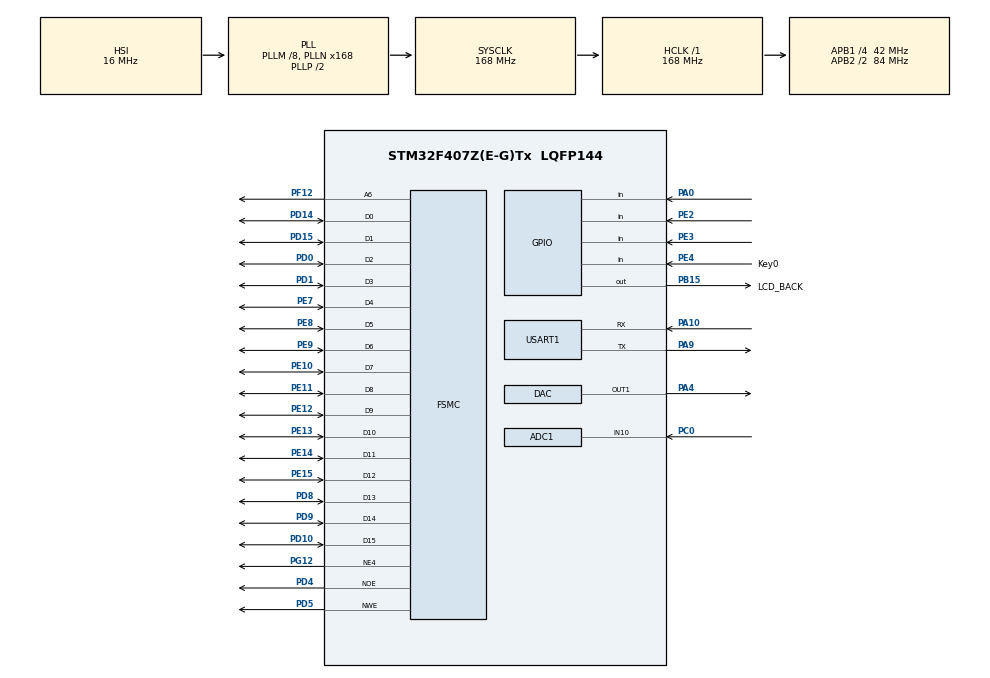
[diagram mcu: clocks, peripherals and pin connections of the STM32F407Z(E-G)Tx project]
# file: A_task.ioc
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ADC1.Channel-2\#ChannelRegularConversion=ADC_CHANNEL_10
ADC1.ContinuousConvMode=ENABLE
ADC1.DMAContinuousRequests=ENABLE
ADC1.ExternalTrigConv=ADC_SOFTWARE_START
ADC1.ExternalTrigConvEdge=ADC_EXTERNALTRIGCONVEDGE_NONE
ADC1.NbrOfConversionFlag=1
ADC1.Rank-2\#ChannelRegularConversion=1
ADC1.SamplingTime-2\#ChannelRegularConversion=ADC_SAMPLETIME_112CYCLES
ADC1.master=1
DAC.DAC_OutputBuffer=DAC_OUTPUTBUFFER_ENABLE
DAC.DAC_Trigger=DAC_TRIGGER_T6_TRGO
DAC.WaveGeneration=DISABLE
Dma.ADC1.1.Direction=DMA_PERIPH_TO_MEMORY
Dma.ADC1.1.FIFOMode=DMA_FIFOMODE_DISABLE
Dma.ADC1.1.Instance=DMA2_Stream0
Dma.ADC1.1.MemDataAlignment=DMA_MDATAALIGN_HALFWORD
Dma.ADC1.1.MemInc=DMA_MINC_ENABLE
Dma.ADC1.1.Mode=DMA_CIRCULAR
Dma.ADC1.1.PeriphDataAlignment=DMA_PDATAALIGN_HALFWORD
Dma.ADC1.1.PeriphInc=DMA_PINC_DISABLE
Dma.ADC1.1.Priority=DMA_PRIORITY_MEDIUM
Dma.DAC1.0.Direction=DMA_MEMORY_TO_PERIPH
Dma.DAC1.0.FIFOMode=DMA_FIFOMODE_DISABLE
Dma.DAC1.0.Instance=DMA1_Stream5
Dma.DAC1.0.MemDataAlignment=DMA_MDATAALIGN_HALFWORD
Dma.DAC1.0.MemInc=DMA_MINC_ENABLE
Dma.DAC1.0.Mode=DMA_CIRCULAR
Dma.DAC1.0.PeriphDataAlignment=DMA_PDATAALIGN_HALFWORD
Dma.DAC1.0.PeriphInc=DMA_PINC_DISABLE
Dma.DAC1.0.Priority=DMA_PRIORITY_HIGH
Dma.Request0=DAC1
Dma.Request1=ADC1
FSMC.AddressSetupTime4=2
FSMC.BusTurnAroundDuration4=0
FSMC.DataSetupTime4=5
FSMC.ExtendedAddressSetupTime4=0
FSMC.ExtendedBusTurnAroundDuration4=0
FSMC.ExtendedDataSetupTime4=5
FSMC.ExtendedMode4=FSMC_EXTENDED_MODE_ENABLE
Mcu.Family=STM32F4
Mcu.Name=STM32F407Z(E-G)Tx
Mcu.Package=LQFP144
NVIC.ADC_IRQn=true\:0\:0\:false\:false\:true\:true\:true\:true
NVIC.DMA1_Stream5_IRQn=true\:0\:0\:false\:false\:true\:false\:true\:true
NVIC.DMA2_Stream0_IRQn=true\:0\:0\:false\:false\:true\:false\:true\:true
NVIC.PriorityGroup=NVIC_PRIORITYGROUP_4
NVIC.TIM6_DAC_IRQn=true\:1\:0\:true\:false\:true\:true\:true\:true
PA0-WKUP.GPIO_PuPd=GPIO_PULLDOWN
PA0-WKUP.Signal=GPIO_Input
PA10.Mode=Asynchronous
PA10.Signal=USART1_RX
PA13.Mode=Serial_Wire
PA13.Signal=SYS_JTMS-SWDIO
PA14.Mode=Serial_Wire
PA14.Signal=SYS_JTCK-SWCLK
PA4.Signal=COMP_DAC1_group
PA9.Mode=Asynchronous
PA9.Signal=USART1_TX
PB15.GPIO_Label=LCD_BACK
PB15.PinState=GPIO_PIN_SET
PB15.Signal=GPIO_Output
PC0.Signal=ADCx_IN10
PD0.Signal=FSMC_D2_DA2
PD1.Signal=FSMC_D3_DA3
PD10.Signal=FSMC_D15_DA15
PD14.Signal=FSMC_D0_DA0
PD15.Signal=FSMC_D1_DA1
PD4.Signal=FSMC_NOE
PD5.Signal=FSMC_NWE
PD8.Signal=FSMC_D13_DA13
PD9.Signal=FSMC_D14_DA14
PE10.Signal=FSMC_D7_DA7
PE11.Signal=FSMC_D8_DA8
PE12.Signal=FSMC_D9_DA9
PE13.Signal=FSMC_D10_DA10
PE14.Signal=FSMC_D11_DA11
PE15.Signal=FSMC_D12_DA12
PE2.GPIO_PuPd=GPIO_PULLUP
PE2.Signal=GPIO_Input
PE3.GPIO_PuPd=GPIO_PULLUP
PE3.Signal=GPIO_Input
PE4.GPIO_Label=Key0
PE4.GPIO_PuPd=GPIO_PULLUP
PE4.Signal=GPIO_Input
PE7.Signal=FSMC_D4_DA4
PE8.Signal=FSMC_D5_DA5
PE9.Signal=FSMC_D6_DA6
PF12.Signal=FSMC_A6
PG12.Mode=NorPsramChipSelect4_4
PG12.Signal=FSMC_NE4
PH0-OSC_IN.Mode=HSE-External-Oscillator
PH0-OSC_IN.Signal=RCC_OSC_IN
PH1-OSC_OUT.Mode=HSE-External-Oscillator
PH1-OSC_OUT.Signal=RCC_OSC_OUT
ProjectManager.HeapSize=0x200
ProjectManager.StackSize=0x400
ProjectManager.TargetToolchain=STM32CubeIDE
RCC.48MHZClocksFreq_Value=84000000
RCC.AHBFreq_Value=168000000
RCC.APB1CLKDivider=RCC_HCLK_DIV4
RCC.APB1Freq_Value=42000000
RCC.APB1TimFreq_Value=84000000
RCC.APB2CLKDivider=RCC_HCLK_DIV2
RCC.APB2Freq_Value=84000000
RCC.APB2TimFreq_Value=168000000
RCC.CortexFreq_Value=168000000
RCC.HCLKFreq_Value=168000000
RCC.HSE_VALUE=25000000
RCC.HSI_VALUE=16000000
RCC.LSE_VALUE=32768
RCC.PLLM=8
RCC.PLLN=168
RCC.SYSCLKFreq_VALUE=168000000
RCC.SYSCLKSource=RCC_SYSCLKSOURCE_PLLCLK
RCC.VCOOutputFreq_Value=336000000
SH.ADCx_IN10.0=ADC1_IN10,IN10
SH.COMP_DAC1_group.0=DAC_OUT1,DAC_OUT1
SH.FSMC_A6.0=FSMC_A6,A6_4
SH.FSMC_D0_DA0.0=FSMC_D0,16b-d4
SH.FSMC_D10_DA10.0=FSMC_D10,16b-d4
SH.FSMC_D11_DA11.0=FSMC_D11,16b-d4
SH.FSMC_D12_DA12.0=FSMC_D12,16b-d4
SH.FSMC_D13_DA13.0=FSMC_D13,16b-d4
SH.FSMC_D14_DA14.0=FSMC_D14,16b-d4
SH.FSMC_D15_DA15.0=FSMC_D15,16b-d4
SH.FSMC_D1_DA1.0=FSMC_D1,16b-d4
SH.FSMC_D2_DA2.0=FSMC_D2,16b-d4
SH.FSMC_D3_DA3.0=FSMC_D3,16b-d4
SH.FSMC_D4_DA4.0=FSMC_D4,16b-d4
SH.FSMC_D5_DA5.0=FSMC_D5,16b-d4
SH.FSMC_D6_DA6.0=FSMC_D6,16b-d4
SH.FSMC_D7_DA7.0=FSMC_D7,16b-d4
SH.FSMC_D8_DA8.0=FSMC_D8,16b-d4
SH.FSMC_D9_DA9.0=FSMC_D9,16b-d4
SH.FSMC_NOE.0=FSMC_NOE,Lcd4
SH.FSMC_NWE.0=FSMC_NWE,Lcd4
STMicroelectronics.X-CUBE-ALGOBUILD.1.3.0.LibraryCcDSPOoLibraryJjDSPOoLibrary=true
TIM6.AutoReloadPreload=TIM_AUTORELOAD_PRELOAD_ENABLE
TIM6.Period=24
TIM6.Prescaler=83
TIM6.TIM_MasterOutputTrigger=TIM_TRGO_UPDATE
USART1.VirtualMode=VM_ASYNC
VP_STMicroelectronics.X-CUBE-ALGOBUILD_VS_DSPOoLibraryJjLibrary_1.3.0_1.3.0.Mode=DSPOoLibraryJjLibrary
VP_TIM6_VS_ClockSourceINT.Mode=Enable_Timer
board=custom

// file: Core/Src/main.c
/* USER CODE BEGIN Header */
/**
  ******************************************************************************
  * @file           : main.c
  * @brief          : Main program body
  ******************************************************************************
  * @attention
  *
  * Copyright (c) 2024 STMicroelectronics.
  * All rights reserved.
  *
  * This software is licensed under terms that can be found in the LICENSE file
  * in the root directory of this software component.
  * If no LICENSE file comes with this software, it is provided AS-IS.
  *
  ******************************************************************************
  */
/* USER CODE END Header */
#include "main.h"
#include "adc.h"
#include "dac.h"
#include "dma.h"
#include "tim.h"
#include "usart.h"
#include "gpio.h"
#include "fsmc.h"

/* USER CODE BEGIN Includes */
#include "math.h"
#include "stdio.h"

#include "arm_math.h"

/* USER CODE END Includes */

/* USER CODE BEGIN PD */
#define SINE_SAMPLE_COUNT 1024 // 正弦波采样点�???????????????????????????????
#define SINE_AMPLITUDE     2048 // 正弦波幅�??????????????????????????????? (12位分辨率: 0-4095)
#define SINE_OFFSET        2047 // 信号偏移�??????????????????????????????? (为了输出正�??)

#define KEY0 HAL_GPIO_ReadPin(GPIOE,GPIO_PIN_4)//读取PE4电平
#define KEY1 HAL_GPIO_ReadPin(GPIOE,GPIO_PIN_3)//读取PE3电平
#define KEY2 HAL_GPIO_ReadPin(GPIOE,GPIO_PIN_2)//读取PE2电平
#define WK_UP HAL_GPIO_ReadPin(GPIOA,GPIO_PIN_0)//读取PA0电平
#define KEY0_Press 1//KEY0被按下标志位
#define KEY1_Press 2//KEY1被按下标志位
#define KEY2_Press 3//KEY2被按下标志位
#define WK_UP_Press 4//WK_UP被按下标志位
uint16_t signal_type_flag = 0;

#define FFT_X_START 20
#define FFT_Y_START 350
#define FFT_WIDTH 300
#define FFT_HEIGHT 120
#define FFT_LENGTH 1024
//#define Fs 168674

/* USER CODE END PD */

/* USER CODE BEGIN PV */

uint16_t sin_wave_buffer[SINE_SAMPLE_COUNT];
uint16_t recv_data[SINE_SAMPLE_COUNT];
__IO uint8_t AdcConvEnd = 0;
int ad_flag = 0;

arm_cfft_radix4_instance_f32 scfft;
arm_rfft_fast_instance_f32 fft_instance;
float FFT_inArray[FFT_LENGTH];
float FFT_outArray[FFT_LENGTH];
uint8_t key = 0;
uint32_t maxIndex;
float32_t max_value = 0.0f;
float32_t base_frequency = 1000;
float Fs = 168674;
float omega = 50;
int flag_dma = 0;
/* USER CODE END PV */

void SystemClock_Config(void);

/* USER CODE BEGIN 0 */
void Generate_SineWave(void) {
    if(signal_type_flag == 0){
        for (int i = 0; i < SINE_SAMPLE_COUNT; i++) {
            // 生成正弦
            sin_wave_buffer[i] = (uint16_t)(SINE_AMPLITUDE * sin(omega * PI * i / SINE_SAMPLE_COUNT) + SINE_OFFSET);
        }
    }else if(signal_type_flag == 1){
        const int wave_periods = 5; // 方波周期数（频率的�?�数�???
        for (int i = 0; i < SINE_SAMPLE_COUNT; i++) {
            // 计算当前点对应的周期位置
            if (((i * wave_periods) % SINE_SAMPLE_COUNT) < (SINE_SAMPLE_COUNT / (2 * wave_periods))) {
                // 高电�???
                sin_wave_buffer[i] = SINE_OFFSET + SINE_AMPLITUDE;
            } else {
                // 低电�???
                sin_wave_buffer[i] = SINE_OFFSET - SINE_AMPLITUDE;
            }
        }
    }
}
uint8_t KEY_Scan(uint8_t mode)
{
    static uint8_t key_up=1;//按键松开标志
    if(mode)key_up=1; //支持连按
    if(key_up&&(KEY0==0||KEY1==0||KEY2==0||WK_UP==1))
    {
        HAL_Delay(10);
        key_up=0;
        if(KEY0==0)return KEY0_Press;
        else if(KEY1==0)return KEY1_Press;
        else if(KEY2==0)return KEY2_Press;
        else if(WK_UP==1)return WK_UP_Press;
    }else if(KEY0==1&&KEY1==1&&KEY2==1&&WK_UP==0)key_up=1;
    return 0;//无按键按�??
}
/*----------------------------------------------------------------------------------------*/
void Start_DAC_With_DMA(void) {

    Generate_SineWave();

    // 启动 DAC  DMA
    HAL_DAC_Start_DMA(&hdac, DAC_CHANNEL_1, (uint32_t*)sin_wave_buffer, SINE_SAMPLE_COUNT, DAC_ALIGN_12B_R);

    // 启动定时器，作为 DAC 的触发源
//    HAL_TIM_Base_Start(&htim4);
}
/*----------------------------------------------------------------------------------------*/
void HAL_ADC_ConvCpltCallback(ADC_HandleTypeDef* hadc)
{
//    printf("%.3f \n",recv_data[0]*3.3/4096);
}

/*----------------------------------------------------------------------------------------*/
/*----------------------------------------------------------------------------------------*/
void AdcDataDrawing()
{
    uint16_t x1, y1, x2, y2;
    x1 = 0;
    y1 = 0;
    // 计算缩放比例
    float x_scale = (float)(320 + 10) / SINE_SAMPLE_COUNT;
    float y_scale = (float)(480 / 5) / 4095;

    for (uint16_t i = 1; i < SINE_SAMPLE_COUNT; i++)
    {
        x2 = (uint16_t)(i * x_scale) ;
        y2 = (uint16_t)(recv_data[i] * y_scale)+60;
////
////        // 绘制线段
        LCD_DrawLine(x1, y1, x2, y2);

        x1 = x2;
        y1 = y2;
//        LCD_DrawPoint(x2, y2);
    }
}
/*----------------------------------------------------------------------------------------*/
/* Draw FFT spectrum */
void DrawFFT(void) {
    float x, y;
    float x_scale = (float) FFT_WIDTH / (FFT_LENGTH / 2); // X轴缩放比例
    float y_scale;

    // 寻找幅值最大值，用于Y轴缩放
    for (int i = 0; i < FFT_LENGTH / 2; i++) {
        if (FFT_outArray[i] > max_value) {
            max_value = FFT_outArray[i];
        }
    }

    // 防止除以零
    if (max_value == 0) {
        max_value = 1.0f;
    }

    y_scale = (float) FFT_HEIGHT / max_value;

    // 清除绘图区
    // LCD_ClearArea(FFT_X_START, FFT_Y_START, FFT_WIDTH, FFT_HEIGHT);

    // 绘制频谱
    for (int i = 0; i < FFT_LENGTH / 2; i++) {
        x = FFT_X_START + i * x_scale;
        y = FFT_Y_START - FFT_outArray[i] * y_scale;

        // 将浮点坐标转换为整数坐标进行绘制
        LCD_DrawLine((uint16_t) x, FFT_Y_START, (uint16_t) x, (uint16_t) y);
    }
//    LCD_ShowString(10,380,20,10,16,"该信号");

    LCD_ShowString(15,380,300,16,16,"frequency of the fundamental wave is");

    LCD_ShowNum(135,410,base_frequency,4,16);

}
/*----------------------------------------------------------------------------------------*/
void axis_drawing(){
    LCD_ShowString(15,10,300,16,16,"*************  WELCOME  *************");
    LCD_DrawLine(0,195,320,195);
    LCD_ShowNum(20,200,0,4,12);
//    LCD_ShowNum(64,200,20,4,12);
//    LCD_ShowNum(108,200,30,4,12);
    LCD_ShowNum(152,200,500,4,12);
//    LCD_ShowNum(196,200,50,4,12);
//    LCD_ShowNum(240,200,60,4,12);
    LCD_ShowNum(280,200,1000,4,12);
    LCD_DrawLine(160,195,160,40);
    LCD_DrawLine(160,40,155,50);
    LCD_DrawLine(160,40,165,50);
    LCD_ShowString(45,240,300,16,16,"-------  Spectrogram  -------");
//    LCD_ShowNum(170,00,90,2,12);
//    LCD_ShowNum(170,20,80,2,12);
//    LCD_ShowNum(170,40,70,2,12);
//    LCD_ShowNum(170,60,60,2,12);
    LCD_ShowFloat(170,60,12,3.31,1,2);
//    LCD_ShowNum(170,80,50,2,12);
//    LCD_ShowNum(170,100,40,2,12);
    LCD_ShowFloat(170,100,12,1.66,1,2);
//    LCD_ShowNum(170,120,30,2,12);
//    LCD_ShowNum(170,140,20,2,12);
    LCD_ShowNum(170,140,0,2,12);
//    LCD_ShowNum(170,180,0,2,12);
    LCD_ShowString(20,450,300,16,16,"************  QEA LYT  ************");

}

/* USER CODE END 0 */

int main(void)
{

  /* MCU Configuration--------------------------------------------------------*/

  /* Reset of all peripherals, Initializes the Flash interface and the Systick. */
  HAL_Init();

  /* Configure the system clock */
  SystemClock_Config();

  /* Initialize all configured peripherals */
  MX_GPIO_Init();
  MX_DMA_Init();
  MX_ADC1_Init();
  MX_DAC_Init();
  MX_USART1_UART_Init();
  MX_TIM6_Init();
  MX_FSMC_Init();
  /* USER CODE BEGIN 2 */
    HAL_ADC_Start_IT(&hadc1);
    HAL_ADC_Start_DMA(&hadc1,(uint32_t*)recv_data,SINE_SAMPLE_COUNT);
    HAL_TIM_Base_Start_IT(&htim6);
    Start_DAC_With_DMA();

//    HAL_TIM_Base_Start(&htim3);
    HAL_Delay(50);
    LCD_Init();
    LCD_Clear(WHITE);
    POINT_COLOR=BLACK;
    arm_cfft_radix4_init_f32(&scfft, FFT_LENGTH, 0, 1);
    arm_rfft_fast_init_f32(&fft_instance, FFT_LENGTH);
  /* USER CODE END 2 */

  /* Infinite loop */
  /* USER CODE BEGIN WHILE */
  while (1)
  {
      LCD_Clear(WHITE);

//      if(flag_dma == 1){
          AdcDataDrawing();

          for (int i = 0; i < FFT_LENGTH; i++)
          {

              FFT_inArray[i] = (float)recv_data[i];
          }

          /* 执行 FFT 计算 */
          arm_rfft_fast_f32(&fft_instance, FFT_inArray, FFT_outArray, 0);
//      // Normalize and limit FFT values for display

///* 计算幅值谱 */
          FFT_outArray[0] = fabsf(FFT_outArray[0]); // 直流分量，实数
          for (int i = 1; i < FFT_LENGTH / 2; i++)
          {
              float real = FFT_outArray[2 * i];                   // 实部
              float imag = FFT_outArray[2 * i + 1];               // 虚部
              FFT_outArray[i] = sqrtf(real * real + imag * imag); // 计算幅值
          }

          arm_max_f32(FFT_outArray+1, SINE_SAMPLE_COUNT-1, &max_value, &maxIndex);
//      printf("Dominant index: %.2lu Hz\n", maxIndex);
          // 计算对应的频率
          base_frequency = (float32_t)maxIndex * Fs / FFT_LENGTH ;

          // 输出结果
//      printf("Dominant base_frequency: %.2f Hz\n", base_frequency);
          DrawFFT();

          axis_drawing();

          key = KEY_Scan(0);
          if(key == KEY0_Press){
              signal_type_flag = 1;
//          base_frequency -= 100;
          } else if (key == KEY1_Press){
              signal_type_flag = 0;
          }else if(key == KEY2_Press){
//              sin_wave_signal = 1;
                omega -= 5;
          }
//          flag_dma = 0;

          HAL_ADC_Start_DMA(&hadc1,(uint32_t*)recv_data,SINE_SAMPLE_COUNT);
//      }

//      printf("%d\n\n\n\n\n\n\n\n",signal_type_flag);
      HAL_Delay(50);
      Generate_SineWave();

    /* USER CODE END WHILE */

  }
}

void SystemClock_Config(void)
{
  RCC_OscInitTypeDef RCC_OscInitStruct = {0};
  RCC_ClkInitTypeDef RCC_ClkInitStruct = {0};

  /** Configure the main internal regulator output voltage
  */
  __HAL_RCC_PWR_CLK_ENABLE();
  __HAL_PWR_VOLTAGESCALING_CONFIG(PWR_REGULATOR_VOLTAGE_SCALE1);

  /** Initializes the RCC Oscillators according to the specified parameters
  * in the RCC_OscInitTypeDef structure.
  */
  RCC_OscInitStruct.OscillatorType = RCC_OSCILLATORTYPE_HSI;
  RCC_OscInitStruct.HSIState = RCC_HSI_ON;
  RCC_OscInitStruct.HSICalibrationValue = RCC_HSICALIBRATION_DEFAULT;
  RCC_OscInitStruct.PLL.PLLState = RCC_PLL_ON;
  RCC_OscInitStruct.PLL.PLLSource = RCC_PLLSOURCE_HSI;
  RCC_OscInitStruct.PLL.PLLM = 8;
  RCC_OscInitStruct.PLL.PLLN = 168;
  RCC_OscInitStruct.PLL.PLLP = RCC_PLLP_DIV2;
  RCC_OscInitStruct.PLL.PLLQ = 4;
  if (HAL_RCC_OscConfig(&RCC_OscInitStruct) != HAL_OK)
  {
    Error_Handler();
  }

  /** Initializes the CPU, AHB and APB buses clocks
  */
  RCC_ClkInitStruct.ClockType = RCC_CLOCKTYPE_HCLK|RCC_CLOCKTYPE_SYSCLK
                              |RCC_CLOCKTYPE_PCLK1|RCC_CLOCKTYPE_PCLK2;
  RCC_ClkInitStruct.SYSCLKSource = RCC_SYSCLKSOURCE_PLLCLK;
  RCC_ClkInitStruct.AHBCLKDivider = RCC_SYSCLK_DIV1;
  RCC_ClkInitStruct.APB1CLKDivider = RCC_HCLK_DIV4;
  RCC_ClkInitStruct.APB2CLKDivider = RCC_HCLK_DIV2;

  if (HAL_RCC_ClockConfig(&RCC_ClkInitStruct, FLASH_LATENCY_5) != HAL_OK)
  {
    Error_Handler();
  }
}

void Error_Handler(void)
{
  __disable_irq();
  while (1)
  {
  }
}
